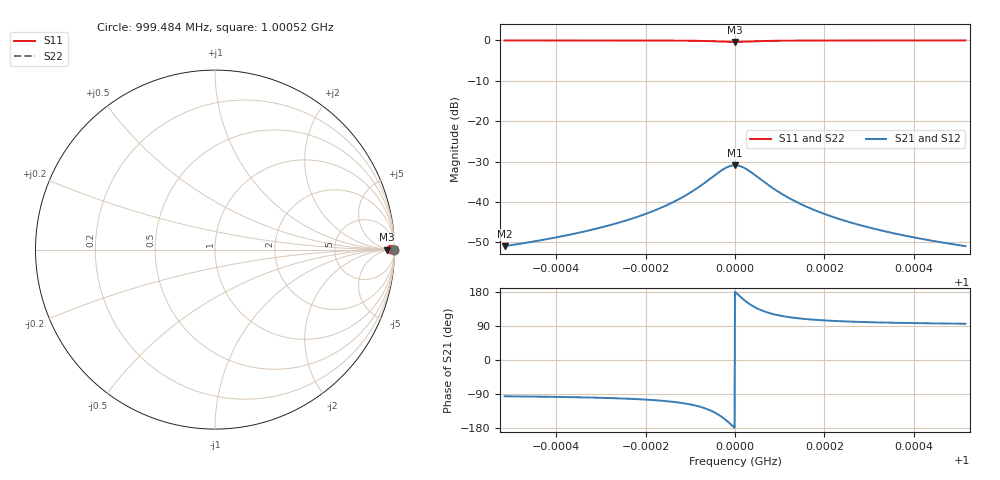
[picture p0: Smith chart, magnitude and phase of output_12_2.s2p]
! File generated for n1 = 12, n2 = 2
! b1 = 0.021544
! b2 = 0.010000
! Q0 = 10000.000000
! f0 = 1000000000.000000
! n = 1001
! rel_span = 10.000000
# Hz S RI R 50
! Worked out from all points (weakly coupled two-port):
!   1001 points, 999.484 MHz to 1.00052 GHz, reference 50 ohm
!   highest |S21| = -30.92 dB at 1 GHz (marker M1); lowest = -51.0 dB at 999.484 MHz (marker M2)
!   lowest |S11| = -0.4 dB at 1 GHz (marker M3), VSWR 46.88, Z = 2.34e+03 + j0 ohm
!   |S11| at or under -10 dB: nowhere
!   |S22| runs from -0.2 to 0.0 dB; largest |S21 - S12| = 0
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9.994842e8  0.9996 -0.00413  -0.000282 -0.00282  -0.000282 -0.00282  0.9998 -0.00192
9.995729e8  0.9994 -0.00497  -0.000409 -0.00339  -0.000409 -0.00339  0.9997 -0.00231
9.996565e8  0.9991 -0.00613  -0.000627 -0.00418  -0.000627 -0.00418  0.9996 -0.00285
9.997514e8  0.9983 -0.00831  -0.00117 -0.00566  -0.00117 -0.00566  0.9992 -0.00386
9.997916e8  0.9976 -0.00974  -0.00164 -0.00664  -0.00164 -0.00664  0.9989 -0.00452
9.998288e8  0.9965 -0.0115  -0.00237 -0.00786  -0.00237 -0.00786  0.9984 -0.00535
9.998649e8  0.9947 -0.0139  -0.00362 -0.00948  -0.00362 -0.00948  0.9975 -0.00646
9.998968e8  0.9916 -0.0167  -0.00569 -0.0114  -0.00569 -0.0114  0.9961 -0.00776
9.999216e8  0.9874 -0.0192  -0.0086 -0.0131  -0.0086 -0.0131  0.9941 -0.0089
9.999763e8  0.9655 -0.0159  -0.0235 -0.0108  -0.0235 -0.0108  0.984 -0.00736
9.999887e8  0.9602 -0.00877  -0.0271 -0.00597  -0.0271 -0.00597  0.9815 -0.00407
1e9  0.9582 0  -0.0285 0  -0.0285 0  0.9806 0
1.000011e9  0.9602 0.00877  -0.0271 0.00597  -0.0271 0.00597  0.9815 0.00407
1.000024e9  0.9655 0.0159  -0.0235 0.0108  -0.0235 0.0108  0.984 0.00736
1.000078e9  0.9874 0.0192  -0.0086 0.0131  -0.0086 0.0131  0.9941 0.0089
1.000103e9  0.9916 0.0167  -0.00569 0.0114  -0.00569 0.0114  0.9961 0.00776
1.000136e9  0.9948 0.0138  -0.00357 0.00943  -0.00357 0.00943  0.9976 0.00642
1.000172e9  0.9966 0.0115  -0.00234 0.00782  -0.00234 0.00782  0.9984 0.00533
1.00025e9  0.9983 0.00828  -0.00117 0.00564  -0.00117 0.00564  0.9992 0.00384
1.000345e9  0.9991 0.00612  -0.000624 0.00417  -0.000624 0.00417  0.9996 0.00284
1.000428e9  0.9994 0.00496  -0.000407 0.00338  -0.000407 0.00338  0.9997 0.0023
1.000516e9  0.9996 0.00414  -0.000282 0.00282  -0.000282 0.00282  0.9998 0.00192
